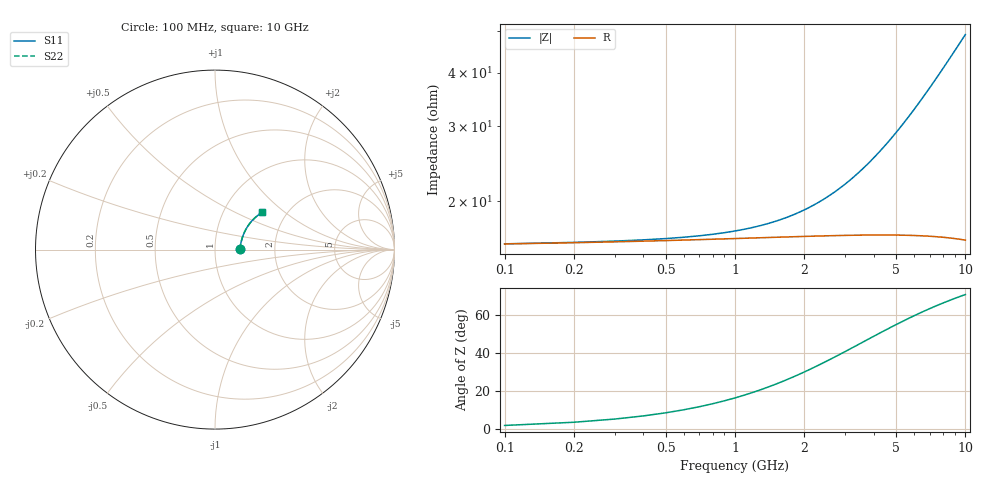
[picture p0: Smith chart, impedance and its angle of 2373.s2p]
# Hz S RI R 50.00
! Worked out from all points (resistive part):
!   100 points, 100 MHz to 10 GHz, reference 50 ohm
!   read as one part in series: R = 15.9 ohm at 100 MHz
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1e8  0.1373 0.00264  0.8627 -0.00443  0.8627 -0.00443  0.1373 0.00264
2e8  0.1381 0.00526  0.8619 -0.00885  0.8619 -0.00885  0.1381 0.00526
7e8  0.1408 0.0183  0.8591 -0.0308  0.8591 -0.0308  0.1408 0.0183
1e9  0.1422 0.026  0.8576 -0.044  0.8576 -0.044  0.1422 0.026
1.2e9  0.1432 0.0311  0.8565 -0.0527  0.8565 -0.0527  0.1432 0.0311
1.4e9  0.1442 0.0363  0.8554 -0.0614  0.8554 -0.0614  0.1442 0.0363
1.8e9  0.1466 0.0464  0.8528 -0.0787  0.8528 -0.0787  0.1466 0.0464
2.1e9  0.1485 0.0539  0.8507 -0.0917  0.8507 -0.0917  0.1485 0.0539
2.5e9  0.1514 0.0639  0.8475 -0.1088  0.8475 -0.1088  0.1514 0.0639
2.9e9  0.1547 0.0736  0.8438 -0.1258  0.8438 -0.1258  0.1547 0.0736
3.4e9  0.1592 0.0856  0.8387 -0.1468  0.8387 -0.1468  0.1592 0.0856
4.2e9  0.1677 0.1042  0.8292 -0.1798  0.8292 -0.1798  0.1677 0.1042
5.1e9  0.1788 0.1241  0.8167 -0.2159  0.8167 -0.2159  0.1788 0.1241
5.9e9  0.19 0.1408  0.8039 -0.247  0.8039 -0.247  0.19 0.1408
6.3e9  0.1961 0.1487  0.797 -0.2621  0.797 -0.2621  0.1961 0.1487
6.7e9  0.2024 0.1563  0.7897 -0.277  0.7897 -0.277  0.2024 0.1563
7.1e9  0.209 0.1637  0.7821 -0.2916  0.7821 -0.2916  0.209 0.1637
7.5e9  0.2159 0.1707  0.7743 -0.3059  0.7743 -0.3059  0.2159 0.1707
7.9e9  0.223 0.1775  0.7661 -0.3198  0.7661 -0.3198  0.223 0.1775
8.4e9  0.2322 0.1854  0.7555 -0.3369  0.7555 -0.3369  0.2322 0.1854
9.2e9  0.2475 0.1971  0.7376 -0.3631  0.7376 -0.3631  0.2475 0.1971
1e10  0.2635 0.2074  0.7189 -0.388  0.7189 -0.388  0.2635 0.2074
